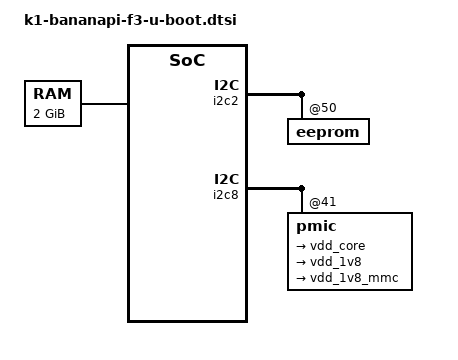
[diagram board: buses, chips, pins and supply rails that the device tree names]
// SPDX-License-Identifier: GPL-2.0+ OR MIT
/*
 * Copyright (C) 2026 RISCstar Ltd.
 */

#include <dt-bindings/clock/spacemit,k1-syscon.h>
#include "binman.dtsi"

/ {
	memory@0 {
		device_type = "memory";
		reg = <0x00000000 0x00000000 0x00000000 0x80000000>;
	};
};

&syscon_mpmu {
	clocks = <&osc_32k>, <&vctcxo_1m>, <&vctcxo_3m>, <&vctcxo_24m>,
		 <&pll CLK_PLL1_D4>;
	clock-names = "osc", "vctcxo_1m", "vctcxo_3m", "vctcxo_24m",
		      "pll1_d4";
};

&syscon_apbc {
	clocks = <&osc_32k>, <&vctcxo_1m>, <&vctcxo_3m>, <&vctcxo_24m>,
		 <&pll CLK_PLL1_D4>,
		 <&syscon_mpmu CLK_PLL1_31P5>,
		 <&syscon_apmu CLK_PMUA_ACLK>;
	clock-names = "osc", "vctcxo_1m", "vctcxo_3m", "vctcxo_24m",
		      "pll1_d4", "pll1_d78_31p5", "pmua_aclk";
};

&binman {
	u-boot-spl-ddr {
		type = "section";
		filename = "u-boot-spl-ddr.bin";
		pad-byte = <0xff>;

		u-boot-spl {
		};

		ddr-fw {
			type = "blob";
			filename = "ddr_fw.bin";
			align = <64>;
		};

		u-boot-any {
			type = "section";
			size = <0>;
			offset = <0>;
		};
	};
};

&{/soc} {
	bootph-all;
};

&vctcxo_1m {
	bootph-pre-ram;
};

&vctcxo_24m {
	bootph-pre-ram;
};

&vctcxo_3m {
	bootph-pre-ram;
};

&osc_32k {
	bootph-pre-ram;
};

&syscon_mpmu {
	bootph-pre-ram;
};

&pll {
	bootph-pre-ram;
};

&syscon_apmu {
	bootph-pre-ram;
};

&syscon_apbc {
	bootph-pre-ram;
};

&uart0 {
	bootph-pre-ram;
};

&i2c2 {
	bootph-pre-ram;

	eeprom@50 {
		bootph-pre-ram;
	};
};

&i2c8 {
	bootph-pre-ram;

	pmic@41 {
		bootph-pre-ram;

		regulators {
			bootph-pre-ram;

			buck1 {
				regulator-name = "vdd_core";
				bootph-pre-ram;
			};

			buck3 {
				regulator-name = "vdd_1v8";
				bootph-pre-ram;
			};

			aldo1 {
				regulator-name = "vdd_1v8_mmc";
				bootph-pre-ram;
			};
		};
	};
};

&uart0 {
	/*
	 * TODO(sjg): experiment - the k1 clk driver reports 24MHz for the
	 * UART clock but output garbles when the divisor is reprogrammed;
	 * force the true 14.7456MHz reference and bypass the clock driver
	 */
	/delete-property/ resets;
	/delete-property/ clocks;
	/delete-property/ clock-names;
	clock-frequency = <14745600>;
};
